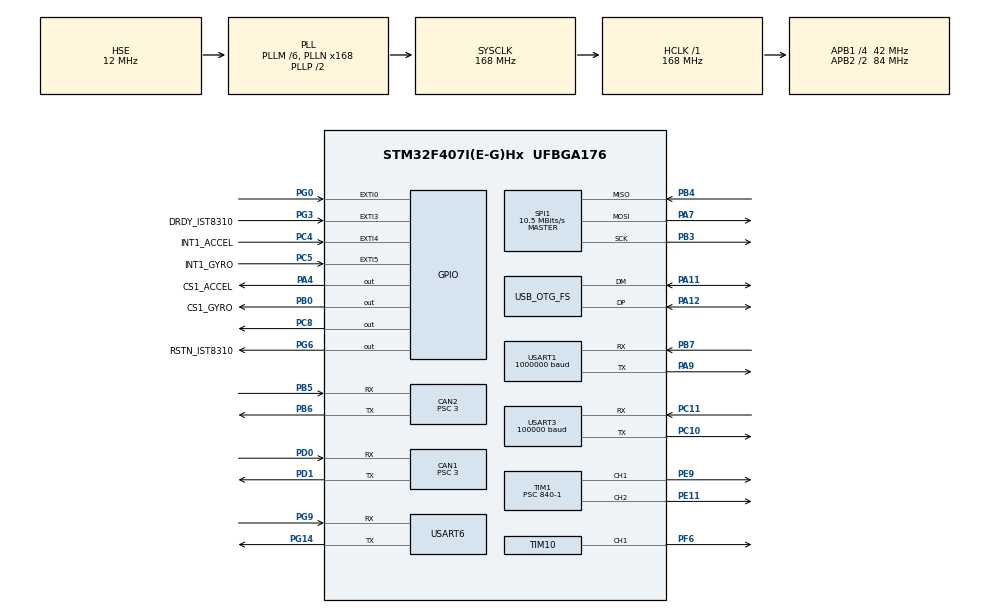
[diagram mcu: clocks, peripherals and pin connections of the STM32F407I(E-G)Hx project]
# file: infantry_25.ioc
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CAN1.BS1=CAN_BS1_10TQ
CAN1.BS2=CAN_BS2_3TQ
CAN1.CalculateBaudRate=1000000
CAN1.CalculateTimeBit=1000
CAN1.CalculateTimeQuantum=71.42857142857143
CAN1.Prescaler=3
CAN2.BS1=CAN_BS1_10TQ
CAN2.BS2=CAN_BS2_3TQ
CAN2.CalculateBaudRate=1000000
CAN2.CalculateTimeBit=1000
CAN2.CalculateTimeQuantum=71.42857142857143
CAN2.Prescaler=3
Dma.Request0=SPI1_RX
Dma.Request1=SPI1_TX
Dma.Request2=USART6_RX
Dma.Request3=USART3_RX
Dma.Request4=USART1_RX
Dma.Request5=USART1_TX
Dma.Request6=USART6_TX
Dma.SPI1_RX.0.Direction=DMA_PERIPH_TO_MEMORY
Dma.SPI1_RX.0.FIFOMode=DMA_FIFOMODE_DISABLE
Dma.SPI1_RX.0.Instance=DMA2_Stream2
Dma.SPI1_RX.0.MemDataAlignment=DMA_MDATAALIGN_BYTE
Dma.SPI1_RX.0.MemInc=DMA_MINC_ENABLE
Dma.SPI1_RX.0.Mode=DMA_NORMAL
Dma.SPI1_RX.0.PeriphDataAlignment=DMA_PDATAALIGN_BYTE
Dma.SPI1_RX.0.PeriphInc=DMA_PINC_DISABLE
Dma.SPI1_RX.0.Priority=DMA_PRIORITY_VERY_HIGH
Dma.SPI1_TX.1.Direction=DMA_MEMORY_TO_PERIPH
Dma.SPI1_TX.1.FIFOMode=DMA_FIFOMODE_DISABLE
Dma.SPI1_TX.1.Instance=DMA2_Stream3
Dma.SPI1_TX.1.MemDataAlignment=DMA_MDATAALIGN_BYTE
Dma.SPI1_TX.1.MemInc=DMA_MINC_ENABLE
Dma.SPI1_TX.1.Mode=DMA_NORMAL
Dma.SPI1_TX.1.PeriphDataAlignment=DMA_PDATAALIGN_BYTE
Dma.SPI1_TX.1.PeriphInc=DMA_PINC_DISABLE
Dma.SPI1_TX.1.Priority=DMA_PRIORITY_HIGH
Dma.USART1_RX.4.Direction=DMA_PERIPH_TO_MEMORY
Dma.USART1_RX.4.FIFOMode=DMA_FIFOMODE_DISABLE
Dma.USART1_RX.4.Instance=DMA2_Stream5
Dma.USART1_RX.4.MemDataAlignment=DMA_MDATAALIGN_BYTE
Dma.USART1_RX.4.MemInc=DMA_MINC_ENABLE
Dma.USART1_RX.4.Mode=DMA_NORMAL
Dma.USART1_RX.4.PeriphDataAlignment=DMA_PDATAALIGN_BYTE
Dma.USART1_RX.4.PeriphInc=DMA_PINC_DISABLE
Dma.USART1_RX.4.Priority=DMA_PRIORITY_HIGH
Dma.USART1_TX.5.Direction=DMA_MEMORY_TO_PERIPH
Dma.USART1_TX.5.FIFOMode=DMA_FIFOMODE_DISABLE
Dma.USART1_TX.5.Instance=DMA2_Stream7
Dma.USART1_TX.5.MemDataAlignment=DMA_MDATAALIGN_BYTE
Dma.USART1_TX.5.MemInc=DMA_MINC_ENABLE
Dma.USART1_TX.5.Mode=DMA_NORMAL
Dma.USART1_TX.5.PeriphDataAlignment=DMA_PDATAALIGN_BYTE
Dma.USART1_TX.5.PeriphInc=DMA_PINC_DISABLE
Dma.USART1_TX.5.Priority=DMA_PRIORITY_MEDIUM
Dma.USART3_RX.3.Direction=DMA_PERIPH_TO_MEMORY
Dma.USART3_RX.3.FIFOMode=DMA_FIFOMODE_DISABLE
Dma.USART3_RX.3.Instance=DMA1_Stream1
Dma.USART3_RX.3.MemDataAlignment=DMA_MDATAALIGN_BYTE
Dma.USART3_RX.3.MemInc=DMA_MINC_ENABLE
Dma.USART3_RX.3.Mode=DMA_CIRCULAR
Dma.USART3_RX.3.PeriphDataAlignment=DMA_PDATAALIGN_BYTE
Dma.USART3_RX.3.PeriphInc=DMA_PINC_DISABLE
Dma.USART3_RX.3.Priority=DMA_PRIORITY_LOW
Dma.USART6_RX.2.Direction=DMA_PERIPH_TO_MEMORY
Dma.USART6_RX.2.FIFOMode=DMA_FIFOMODE_DISABLE
Dma.USART6_RX.2.Instance=DMA2_Stream1
Dma.USART6_RX.2.MemDataAlignment=DMA_MDATAALIGN_BYTE
Dma.USART6_RX.2.MemInc=DMA_MINC_ENABLE
Dma.USART6_RX.2.Mode=DMA_NORMAL
Dma.USART6_RX.2.PeriphDataAlignment=DMA_PDATAALIGN_BYTE
Dma.USART6_RX.2.PeriphInc=DMA_PINC_DISABLE
Dma.USART6_RX.2.Priority=DMA_PRIORITY_HIGH
Dma.USART6_TX.6.Direction=DMA_MEMORY_TO_PERIPH
Dma.USART6_TX.6.FIFOMode=DMA_FIFOMODE_DISABLE
Dma.USART6_TX.6.Instance=DMA2_Stream6
Dma.USART6_TX.6.MemDataAlignment=DMA_MDATAALIGN_BYTE
Dma.USART6_TX.6.MemInc=DMA_MINC_ENABLE
Dma.USART6_TX.6.Mode=DMA_NORMAL
Dma.USART6_TX.6.PeriphDataAlignment=DMA_PDATAALIGN_BYTE
Dma.USART6_TX.6.PeriphInc=DMA_PINC_DISABLE
Dma.USART6_TX.6.Priority=DMA_PRIORITY_HIGH
FREERTOS.Tasks01=defaultTask,0,128,StartDefaultTask,Default,NULL,Dynamic,NULL,NULL;INSTask,0,512,StartINSTask,As weak,NULL,Dynamic,NULL,NULL
FREERTOS.configTOTAL_HEAP_SIZE=17104
Mcu.Family=STM32F4
Mcu.Name=STM32F407I(E-G)Hx
Mcu.Package=UFBGA176
NVIC.CAN1_RX0_IRQn=true\:5\:0\:false\:false\:true\:true\:true\:true\:true
NVIC.CAN1_TX_IRQn=true\:5\:0\:false\:false\:true\:true\:true\:true\:true
NVIC.CAN2_RX1_IRQn=true\:5\:0\:false\:false\:true\:true\:true\:true\:true
NVIC.CAN2_TX_IRQn=true\:5\:0\:false\:false\:true\:true\:true\:true\:true
NVIC.DMA1_Stream1_IRQn=true\:5\:0\:false\:false\:true\:true\:false\:true\:true
NVIC.DMA2_Stream1_IRQn=true\:5\:0\:false\:false\:true\:true\:false\:true\:true
NVIC.DMA2_Stream2_IRQn=true\:5\:0\:true\:false\:false\:true\:false\:false\:true
NVIC.DMA2_Stream3_IRQn=true\:5\:0\:false\:false\:false\:true\:false\:false\:true
NVIC.DMA2_Stream5_IRQn=true\:5\:0\:true\:false\:true\:true\:false\:true\:true
NVIC.DMA2_Stream6_IRQn=true\:5\:0\:false\:false\:true\:true\:false\:true\:true
NVIC.DMA2_Stream7_IRQn=true\:5\:0\:false\:false\:true\:true\:false\:true\:true
NVIC.EXTI0_IRQn=true\:6\:0\:true\:false\:true\:true\:true\:true\:true
NVIC.EXTI3_IRQn=true\:5\:0\:false\:false\:true\:true\:true\:true\:true
NVIC.EXTI4_IRQn=true\:5\:0\:false\:false\:true\:true\:true\:true\:true
NVIC.EXTI9_5_IRQn=true\:5\:0\:false\:false\:true\:true\:true\:true\:true
NVIC.OTG_FS_IRQn=true\:5\:0\:false\:false\:true\:true\:false\:true\:true
NVIC.PriorityGroup=NVIC_PRIORITYGROUP_4
NVIC.TIM2_IRQn=true\:15\:0\:false\:false\:true\:false\:false\:true\:true
NVIC.TimeBase=TIM2_IRQn
NVIC.TimeBaseIP=TIM2
NVIC.USART1_IRQn=true\:5\:0\:false\:false\:true\:true\:true\:true\:true
NVIC.USART3_IRQn=true\:5\:0\:false\:false\:false\:true\:true\:true\:true
NVIC.USART6_IRQn=true\:7\:0\:true\:false\:false\:true\:false\:true\:true
PA11.Mode=Device_Only
PA11.Signal=USB_OTG_FS_DM
PA12.Mode=Device_Only
PA12.Signal=USB_OTG_FS_DP
PA13.Mode=Serial_Wire
PA13.Signal=SYS_JTMS-SWDIO
PA14.Mode=Serial_Wire
PA14.Signal=SYS_JTCK-SWCLK
PA4.GPIO_Label=CS1_ACCEL
PA4.GPIO_PuPd=GPIO_PULLUP
PA4.GPIO_Speed=GPIO_SPEED_FREQ_HIGH
PA4.PinState=GPIO_PIN_SET
PA4.Signal=GPIO_Output
PA7.GPIO_PuPd=GPIO_PULLUP
PA7.Mode=Full_Duplex_Master
PA7.Signal=SPI1_MOSI
PA9.Mode=Asynchronous
PA9.Signal=USART1_TX
PB0.GPIO_Label=CS1_GYRO
PB0.GPIO_ModeDefaultOutputPP=GPIO_MODE_OUTPUT_PP
PB0.GPIO_PuPd=GPIO_PULLUP
PB0.GPIO_Speed=GPIO_SPEED_FREQ_HIGH
PB0.PinState=GPIO_PIN_SET
PB0.Signal=GPIO_Output
PB3.GPIO_PuPd=GPIO_PULLUP
PB3.Mode=Full_Duplex_Master
PB3.Signal=SPI1_SCK
PB4.GPIO_PuPd=GPIO_PULLUP
PB4.Mode=Full_Duplex_Master
PB4.Signal=SPI1_MISO
PB5.Mode=CAN_Activate
PB5.Signal=CAN2_RX
PB6.Mode=CAN_Activate
PB6.Signal=CAN2_TX
PB7.Mode=Asynchronous
PB7.Signal=USART1_RX
PC10.Mode=Asynchronous
PC10.Signal=USART3_TX
PC11.Mode=Asynchronous
PC11.Signal=USART3_RX
PC4.GPIO_Label=INT1_ACCEL
PC4.GPIO_ModeDefaultEXTI=GPIO_MODE_IT_FALLING
PC4.GPIO_PuPd=GPIO_PULLUP
PC4.Signal=GPXTI4
PC5.GPIO_Label=INT1_GYRO
PC5.GPIO_ModeDefaultEXTI=GPIO_MODE_IT_FALLING
PC5.GPIO_PuPd=GPIO_PULLUP
PC5.Signal=GPXTI5
PC8.GPIO_ModeDefaultOutputPP=GPIO_MODE_OUTPUT_PP
PC8.Signal=GPIO_Output
PD0.Mode=CAN_Activate
PD0.Signal=CAN1_RX
PD1.Mode=CAN_Activate
PD1.Signal=CAN1_TX
PE11.Signal=S_TIM1_CH2
PE9.Signal=S_TIM1_CH1
PF6.Signal=S_TIM10_CH1
PG0.GPIO_ModeDefaultEXTI=GPIO_MODE_IT_FALLING
PG0.GPIO_PuPd=GPIO_PULLUP
PG0.Signal=GPXTI0
PG14.Mode=Asynchronous
PG14.Signal=USART6_TX
PG3.GPIO_Label=DRDY_IST8310
PG3.GPIO_ModeDefaultEXTI=GPIO_MODE_IT_FALLING
PG3.GPIO_PuPd=GPIO_PULLUP
PG3.Signal=GPXTI3
PG6.GPIO_Label=RSTN_IST8310
PG6.GPIO_PuPd=GPIO_PULLUP
PG6.GPIO_Speed=GPIO_SPEED_FREQ_MEDIUM
PG6.PinState=GPIO_PIN_SET
PG6.Signal=GPIO_Output
PG9.Mode=Asynchronous
PG9.Signal=USART6_RX
PH0-OSC_IN.Mode=HSE-External-Oscillator
PH0-OSC_IN.Signal=RCC_OSC_IN
PH1-OSC_OUT.Mode=HSE-External-Oscillator
PH1-OSC_OUT.Signal=RCC_OSC_OUT
ProjectManager.HeapSize=0x2000
ProjectManager.StackSize=0x2000
ProjectManager.TargetToolchain=CMake
RCC.48MHZClocksFreq_Value=48000000
RCC.AHBFreq_Value=168000000
RCC.APB1CLKDivider=RCC_HCLK_DIV4
RCC.APB1Freq_Value=42000000
RCC.APB1TimFreq_Value=84000000
RCC.APB2CLKDivider=RCC_HCLK_DIV2
RCC.APB2Freq_Value=84000000
RCC.APB2TimFreq_Value=168000000
RCC.CortexFreq_Value=168000000
RCC.HCLKFreq_Value=168000000
RCC.HSE_VALUE=12000000
RCC.HSI_VALUE=16000000
RCC.LSE_VALUE=32768
RCC.PLLM=6
RCC.PLLN=168
RCC.PLLQ=7
RCC.RCC_RTC_Clock_SourceVirtual=RCC_RTCCLKSOURCE_HSE_DIV30
RCC.RCC_RTC_Clock_Source_FROM_HSE=RCC_RTCCLKSOURCE_HSE_DIV30
RCC.SYSCLKFreq_VALUE=168000000
RCC.SYSCLKSource=RCC_SYSCLKSOURCE_PLLCLK
RCC.VCOOutputFreq_Value=336000000
RTC.AsynchPrediv=124
RTC.SynchPrediv=3199
SH.S_TIM10_CH1.0=TIM10_CH1,PWM Generation1 CH1
SH.S_TIM1_CH1.0=TIM1_CH1,PWM Generation1 CH1
SH.S_TIM1_CH2.0=TIM1_CH2,PWM Generation2 CH2
SPI1.BaudRatePrescaler=SPI_BAUDRATEPRESCALER_8
SPI1.CLKPhase=SPI_PHASE_2EDGE
SPI1.CLKPolarity=SPI_POLARITY_HIGH
SPI1.CalculateBaudRate=10.5 MBits/s
SPI1.Direction=SPI_DIRECTION_2LINES
SPI1.Mode=SPI_MODE_MASTER
SPI1.VirtualType=VM_MASTER
TIM1.Channel-PWM\ Generation1\ CH1=TIM_CHANNEL_1
TIM1.Channel-PWM\ Generation2\ CH2=TIM_CHANNEL_2
TIM1.Period=2000-1
TIM1.Prescaler=840-1
TIM10.Channel=TIM_CHANNEL_1
TIM10.Period=4999
USART1.BaudRate=1000000
USART1.VirtualMode=VM_ASYNC
USART3.BaudRate=100000
USART3.Parity=PARITY_EVEN
USART3.VirtualMode=VM_ASYNC
USART6.VirtualMode=VM_ASYNC
USB_DEVICE.CLASS_NAME_FS=CDC
USB_DEVICE.VirtualMode-CDC_FS=Cdc
USB_DEVICE.VirtualModeFS=Cdc_FS
USB_OTG_FS.VirtualMode=Device_Only
VP_FREERTOS_VS_CMSIS_V1.Mode=CMSIS_V1
VP_RTC_VS_RTC_Activate.Mode=RTC_Enabled
VP_SYS_VS_tim2.Mode=TIM2
VP_TIM10_VS_ClockSourceINT.Mode=Enable_Timer
VP_USB_DEVICE_VS_USB_DEVICE_CDC_FS.Mode=CDC_FS
board=custom

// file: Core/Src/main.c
/* USER CODE BEGIN Header */
/**
  ******************************************************************************
  * @file           : main.c
  * @brief          : Main program body
  ******************************************************************************
  * @attention
  *
  * Copyright (c) 2026 STMicroelectronics.
  * All rights reserved.
  *
  * This software is licensed under terms that can be found in the LICENSE file
  * in the root directory of this software component.
  * If no LICENSE file comes with this software, it is provided AS-IS.
  *
  ******************************************************************************
  */
/* USER CODE END Header */
#include "main.h"
#include "cmsis_os.h"
#include "can.h"
#include "dma.h"
#include "rtc.h"
#include "spi.h"
#include "tim.h"
#include "usart.h"
#include "usb_device.h"
#include "gpio.h"

/* USER CODE BEGIN Includes */
#include "BMI088driver.h"
#include "bsp_dwt.h"
#include "remote_control.h"
#include "bsp_rc.h"
#include "bsp_can.h"
//#include "system.h"
#include "stdio.h"
#include "ins_task.h"
#include "controller.h"
//#include "SuperCAP.h"
#include "essemi_swd_print.h"
#include "CAN_receive.h"

#include "remote_control.h"
#include "message_center.h"
/* USER CODE END Includes */

void SystemClock_Config(void);
void MX_FREERTOS_Init(void);

int main(void)
{

  /* MCU Configuration--------------------------------------------------------*/

  /* Reset of all peripherals, Initializes the Flash interface and the Systick. */
  HAL_Init();

  /* Configure the system clock */
  SystemClock_Config();

  /* Initialize all configured peripherals */
  MX_GPIO_Init();
  MX_DMA_Init();
  MX_RTC_Init();
  MX_SPI1_Init();
  MX_TIM1_Init();
  MX_TIM10_Init();
  MX_USART6_UART_Init();
  MX_USART3_UART_Init();
  MX_USART1_UART_Init();
  MX_CAN1_Init();
  MX_CAN2_Init();
  /* USER CODE BEGIN 2 */
      MX_USB_DEVICE_Init();
	remote_control_init();
	can_filter_init();
    DWT_Init(168);
    while (BMI088_init(&hspi1, 1) != BMI088_NO_ERROR);

    Start_PIN_int();

    /* 初始化 message_center（必须在调度器启动前） */
    MessageCenterInit();

  /* USER CODE END 2 */

  /* Call init function for freertos objects (in cmsis_os2.c) */
  MX_FREERTOS_Init();

  /* Start scheduler */
  osKernelStart();

  /* We should never get here as control is now taken by the scheduler */

  /* Infinite loop */
  while (1)
  {

  }
}

void SystemClock_Config(void)
{
  RCC_OscInitTypeDef RCC_OscInitStruct = {0};
  RCC_ClkInitTypeDef RCC_ClkInitStruct = {0};

  /** Configure the main internal regulator output voltage
  */
  __HAL_RCC_PWR_CLK_ENABLE();
  __HAL_PWR_VOLTAGESCALING_CONFIG(PWR_REGULATOR_VOLTAGE_SCALE1);

  /** Initializes the RCC Oscillators according to the specified parameters
  * in the RCC_OscInitTypeDef structure.
  */
  RCC_OscInitStruct.OscillatorType = RCC_OSCILLATORTYPE_HSE;
  RCC_OscInitStruct.HSEState = RCC_HSE_ON;
  RCC_OscInitStruct.PLL.PLLState = RCC_PLL_ON;
  RCC_OscInitStruct.PLL.PLLSource = RCC_PLLSOURCE_HSE;
  RCC_OscInitStruct.PLL.PLLM = 6;
  RCC_OscInitStruct.PLL.PLLN = 168;
  RCC_OscInitStruct.PLL.PLLP = RCC_PLLP_DIV2;
  RCC_OscInitStruct.PLL.PLLQ = 7;
  if (HAL_RCC_OscConfig(&RCC_OscInitStruct) != HAL_OK)
  {
    Error_Handler();
  }

  /** Initializes the CPU, AHB and APB buses clocks
  */
  RCC_ClkInitStruct.ClockType = RCC_CLOCKTYPE_HCLK|RCC_CLOCKTYPE_SYSCLK
                              |RCC_CLOCKTYPE_PCLK1|RCC_CLOCKTYPE_PCLK2;
  RCC_ClkInitStruct.SYSCLKSource = RCC_SYSCLKSOURCE_PLLCLK;
  RCC_ClkInitStruct.AHBCLKDivider = RCC_SYSCLK_DIV1;
  RCC_ClkInitStruct.APB1CLKDivider = RCC_HCLK_DIV4;
  RCC_ClkInitStruct.APB2CLKDivider = RCC_HCLK_DIV2;

  if (HAL_RCC_ClockConfig(&RCC_ClkInitStruct, FLASH_LATENCY_5) != HAL_OK)
  {
    Error_Handler();
  }
}

void HAL_TIM_PeriodElapsedCallback(TIM_HandleTypeDef *htim)
{
  if (htim->Instance == TIM2)
  {
    HAL_IncTick();
  }
}

void Error_Handler(void)
{
  __disable_irq();
  while (1)
  {
  }
}

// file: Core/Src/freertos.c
/* USER CODE BEGIN Header */
/**
  ******************************************************************************
  * File Name          : freertos.c
  * Description        : Code for freertos applications
  ******************************************************************************
  * @attention
  *
  * Copyright (c) 2024 STMicroelectronics.
  * All rights reserved.
  *
  * This software is licensed under terms that can be found in the LICENSE file
  * in the root directory of this software component.
  * If no LICENSE file comes with this software, it is provided AS-IS.
  *
  ******************************************************************************
  */
/* USER CODE END Header */

#include "FreeRTOS.h"
#include "task.h"
#include "main.h"
#include "cmsis_os.h"

osThreadId defaultTaskHandle;
osThreadId system_taskHandle;
osThreadId INSTaskHandle;
osThreadId motor_taskHandle;
osThreadId chassis_taskHandle;
//osThreadId Odometer_taskHandle;
osThreadId transmit_taskHandle;
osThreadId big_yaw_taskHandle;
osThreadId small_gim_taskHandle;
osThreadId REFEREEHandle;
osThreadId AutoHandle;

void referee_transmit(void const * argument);
void system_run(void const * argument);
void StartINSTask(void const * argument);
void motor_run(void const * argument);
void chassis_task_run(void const * argument);
void Transmit_run(void const * argument);
void big_yaw_run(void const * argument);
void small_gimbal_run(void const * argument);
extern void REFEREE_Task(void const * argument);
void Auto_run(void const * argument);

//void Odometer_run(void const * argument);
void MX_FREERTOS_Init(void); /* (MISRA C 2004 rule 8.1) */

/* GetIdleTaskMemory prototype (linked to static allocation support) */
void vApplicationGetIdleTaskMemory( StaticTask_t **ppxIdleTaskTCBBuffer, StackType_t **ppxIdleTaskStackBuffer, uint32_t *pulIdleTaskStackSize );

/* USER CODE BEGIN GET_IDLE_TASK_MEMORY */
static StaticTask_t xIdleTaskTCBBuffer;
static StackType_t xIdleStack[configMINIMAL_STACK_SIZE];

void vApplicationGetIdleTaskMemory( StaticTask_t **ppxIdleTaskTCBBuffer, StackType_t **ppxIdleTaskStackBuffer, uint32_t *pulIdleTaskStackSize )
{
  *ppxIdleTaskTCBBuffer = &xIdleTaskTCBBuffer;
  *ppxIdleTaskStackBuffer = &xIdleStack[0];
  *pulIdleTaskStackSize = configMINIMAL_STACK_SIZE;
  /* place for user code */
}
/* USER CODE END GET_IDLE_TASK_MEMORY */

void MX_FREERTOS_Init(void) {

  /* Create the thread(s) */
  /* definition and creation of defaultTask */
  osThreadDef(defaultTask, referee_transmit, osPriorityNormal, 0, 128);
  defaultTaskHandle = osThreadCreate(osThread(defaultTask), NULL);

  /* definition and creation of system_task */
  osThreadDef(system_task, system_run, osPriorityNormal, 0, 256);
  system_taskHandle = osThreadCreate(osThread(system_task), NULL);

  /* definition and creation of INSTask */
  osThreadDef(INSTask, StartINSTask, osPriorityNormal, 0, 512);
  INSTaskHandle = osThreadCreate(osThread(INSTask), NULL);

  /* definition and creation of motor_task */
  osThreadDef(motor_task, motor_run, osPriorityNormal, 0, 128);
  motor_taskHandle = osThreadCreate(osThread(motor_task), NULL);

   osThreadDef(chassis_task, chassis_task_run, osPriorityNormal, 0, 128);
  chassis_taskHandle = osThreadCreate(osThread(chassis_task), NULL);

   osThreadDef(transmit_task, Transmit_run, osPriorityNormal, 0, 128);
  transmit_taskHandle = osThreadCreate(osThread(transmit_task), NULL);

  osThreadDef(big_yaw_task, big_yaw_run, osPriorityNormal, 0, 128);
  big_yaw_taskHandle = osThreadCreate(osThread(big_yaw_task), NULL);

  osThreadDef(small_gim_task, small_gimbal_run, osPriorityNormal, 0, 128);
  small_gim_taskHandle = osThreadCreate(osThread(small_gim_task), NULL);

   osThreadDef(REFEREE, REFEREE_Task, osPriorityNormal, 0, 256);
  REFEREEHandle = osThreadCreate(osThread(REFEREE), NULL);

  osThreadDef(Auto_task, Auto_run, osPriorityNormal, 0, 512);
  AutoHandle = osThreadCreate(osThread(Auto_task), NULL);
//osThreadDef(Odometer_task, Odometer_run, osPriorityAboveNormal, 0, 256);
//  Odometer_taskHandle = osThreadCreate(osThread(Odometer_task), NULL);

}

//void StartDefaultTask(void const * argument)
//{
//  /* USER CODE BEGIN StartDefaultTask */
//  /* Infinite loop */
//  for(;;)
//  {
//
//
//    osDelay(1);
//  }
//  /* USER CODE END StartDefaultTask */
//}

__weak void system_run(void const * argument)
{
  for(;;)
  {
    osDelay(1);
  }
}

__weak void StartINSTask(void const * argument)
{
  for(;;)
  {
    osDelay(1);
  }
}

__weak void StartTask04(void const * argument)
{
  for(;;)
  {
    osDelay(1);
  }
}
